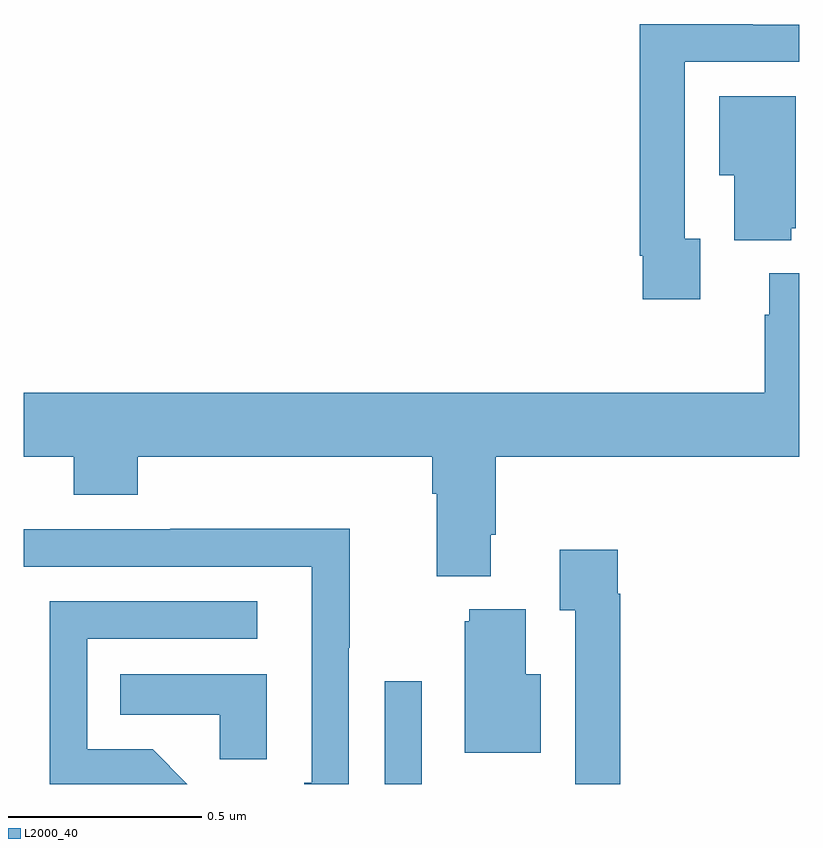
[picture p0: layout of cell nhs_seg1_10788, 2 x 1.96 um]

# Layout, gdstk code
import gdstk
lib = gdstk.Library(unit=1e-6, precision=1e-09)
def R(c, l, rs):  # rectangles x0, y0, x1, y1
    for r in rs: c.add(gdstk.rectangle(r[:2], r[2:], *l))
def P(c, l, *ps):  # polygons
    for p in ps: c.add(gdstk.Polygon(p, *l))
L2000_40 = (2000, 40)

nhs_seg1_10788 = lib.new_cell('nhs_seg1_10788')
R(nhs_seg1_10788, L2000_40, [(245.931,572.199,246.027,572.464)])
P(nhs_seg1_10788, L2000_40, [(246.745,573.606),(246.705,573.606),(246.705,574.062),(247,574.062),(247,574.158),(246.881,574.158),(246.881,574.16),(246.589,574.16),(246.589,573.562),(246.597,573.562),(246.597,573.45),(246.745,573.45)],
  [(246.98,573.633),(246.991,573.633),(246.991,573.973),(246.794,573.973),(246.794,573.77),(246.833,573.77),(246.833,573.602),(246.98,573.602)],
  [(245,573.044),(245.129,573.044),(245.129,572.945),(245.294,572.945),(245.294,573.044),(246.053,573.044),(246.053,572.948),(246.065,572.948),(246.065,572.735),(246.205,572.735),(246.205,572.842),(246.218,572.842),(246.218,573.044),(247,573.044),(247,573.517),(246.923,573.517),(246.923,573.41),(246.911,573.41),(246.911,573.208),(245,573.208)],
  [(245.838,572.551),(245.841,572.551),(245.841,572.858),(245.377,572.858),(245.377,572.856),(245,572.856),(245,572.76),(245.742,572.76),(245.742,572.202),(245.723,572.202),(245.723,572.199),(245.838,572.199)],
  [(246.539,572.69),(246.532,572.69),(246.532,572.803),(246.383,572.803),(246.383,572.647),(246.423,572.647),(246.423,572.199),(246.539,572.199)],
  [(245.332,572.289),(245.163,572.289),(245.163,572.574),(245.602,572.574),(245.602,572.67),(245.067,572.67),(245.067,572.199),(245.422,572.199)],
  [(246.334,572.482),(246.295,572.482),(246.295,572.65),(246.149,572.65),(246.149,572.619),(246.137,572.619),(246.137,572.279),(246.334,572.279)],
  [(245.626,572.482),(245.248,572.482),(245.248,572.378),(245.505,572.378),(245.505,572.263),(245.626,572.263)])

lib.write_gds('nhs_seg1_10788.gds')
